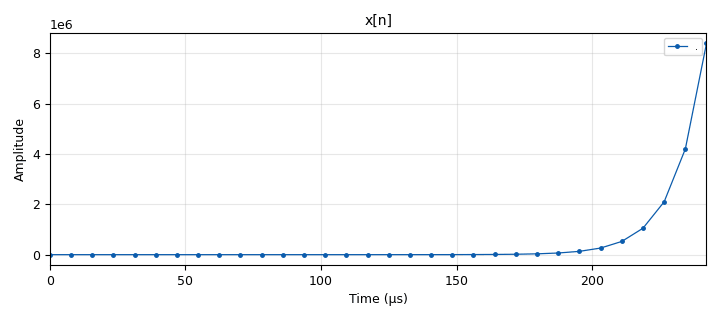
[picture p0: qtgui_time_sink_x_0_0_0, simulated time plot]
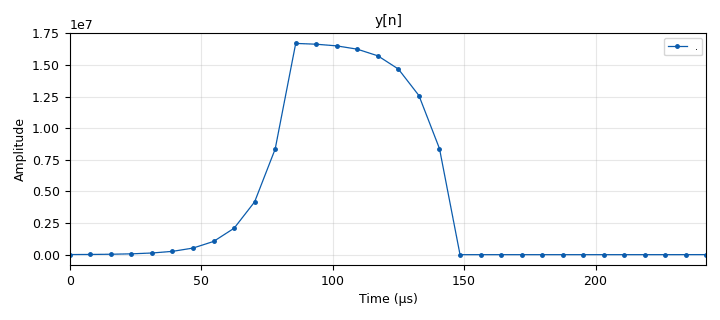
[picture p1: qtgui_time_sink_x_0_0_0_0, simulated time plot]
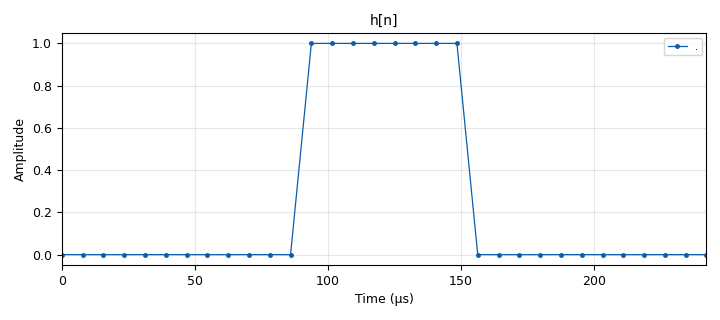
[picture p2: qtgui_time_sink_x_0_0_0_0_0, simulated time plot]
<?xml version='1.0' encoding='utf-8'?>
<?grc format='1' created='3.7.13'?>
<flow_graph>
<block>
<key>options</key>
<param><key>id</key><value>top_block</value></param>
<param><key>category</key><value>Custom</value></param>
<param><key>generate_options</key><value>qt_gui</value></param>
<param><key>run</key><value>run_stop</value></param>
</block>
<block>
<key>variable</key>
<param><key>id</key><value>N</value></param>
<param><key>value</key><value>32</value></param>
</block>
<block>
<key>variable</key>
<param><key>id</key><value>h</value></param>
<param><key>value</key><value>e_signal.pulse_rect(N,N-N/4)</value></param>
</block>
<block>
<key>variable_qtgui_range</key>
<param><key>id</key><value>retraso</value></param>
<param><key>value</key><value>0</value></param>
<param><key>gui_hint</key><value>0,1,1,1</value></param>
<param><key>label</key><value>retrasar senal</value></param>
<param><key>orient</key><value>Qt.Horizontal</value></param>
<param><key>start</key><value>0</value></param>
<param><key>step</key><value>1</value></param>
<param><key>stop</key><value>N</value></param>
<param><key>rangeType</key><value>int</value></param>
</block>
<block>
<key>variable_qtgui_check_box</key>
<param><key>id</key><value>run_stop</value></param>
<param><key>value</key><value>True</value></param>
<param><key>false</key><value>False</value></param>
<param><key>gui_hint</key><value>0,0,1,1</value></param>
<param><key>label</key><value>Inicial/Parar</value></param>
<param><key>true</key><value>True</value></param>
<param><key>type</key><value>int</value></param>
</block>
<block>
<key>variable</key>
<param><key>id</key><value>samp_rate</value></param>
<param><key>value</key><value>128000</value></param>
</block>
<block>
<key>variable</key>
<param><key>id</key><value>x</value></param>
<param><key>value</key><value>e_signal.pulse_exp(N, 8, 1, 2)</value></param>
</block>
<block>
<key>blocks_delay</key>
<param><key>id</key><value>blocks_delay_0</value></param>
<param><key>delay</key><value>retraso</value></param>
<param><key>type</key><value>float</value></param>
</block>
<block>
<key>blocks_vector_source_x</key>
<param><key>id</key><value>blocks_vector_source_x_0_0</value></param>
<param><key>type</key><value>float</value></param>
<param><key>repeat</key><value>True</value></param>
<param><key>vector</key><value>x</value></param>
</block>
<block>
<key>blocks_vector_source_x</key>
<param><key>id</key><value>blocks_vector_source_x_0_0_0</value></param>
<param><key>type</key><value>float</value></param>
<param><key>repeat</key><value>True</value></param>
<param><key>vector</key><value>h</value></param>
</block>
<block>
<key>epy_module</key>
<param><key>id</key><value>e_signal</value></param>
<param><key>source_code</key><value>import numpy as np
####################################################################################################
##                                  pulso rectangular                                             ##
####################################################################################################
# Lo siguiente aplica para todas las funciones aqui incluidas:
# cada funcion busca generar un tipo de forma de pulso rodeada de ceros
# los resultados se entregan en forma de un vector x
# Estos son los parametros usados:
# ntaps: es el tamano del vector y coincide con la duracion de la senal generada
# nzero: es el numero de ceros que rodean el pulso generado. Si nzero=0 no habran ceros.

def pulse_rect(ntaps,nzeros):
# Descripcion: esta funcion permite generar un pulso rectangular discreto
	n_val=ntaps-nzeros                        # el numero de valores no iguales a cero
	x=np.zeros(ntaps)                         # crea un vector de tamano ntaps lleno de ceros
	ntaps_m= int(ntaps/2)                     # el punto medio del vector
	ntaps_i= ntaps_m-int(n_val/2)             # el punto de inicio para los unos
	x[ntaps_i:ntaps_i+n_val:1]=np.ones(n_val) # llenado de los unos
	return x

def pulse_ramp(ntaps,nzeros):
# Descripcion: esta funcion permite generar un pulso en forma de rampa discreto
	n_val=ntaps-nzeros                        # el numero de valores no iguales a cero
	x=np.zeros(ntaps)                         # crea un vector de tamano ntaps lleno de ceros
	ntaps_m= int(ntaps/2)                     # el punto medio del vector
	ntaps_i= ntaps_m-int(n_val/2)             # el punto de inicio para los valores
	x[ntaps_i:ntaps_i+n_ones:1]=np.linspace(0,n_val-1,n_val) #llenado de los valores
	return x

def pulse_delta(ntaps):
# Descripcion: esta funcion permite generar la funcion impulso o funcion delta de Dirac discreta
	x=np.zeros(ntaps)                         # crea un vector de tamano ntaps lleno de ceros
	ntaps_m= int(ntaps/2)                     # el punto medio del vector
	x[ntaps_m]=1                              #llenado de los valores
	return x

def pulse_doublet(ntaps):
# Descripcion: esta funcion permite generar una funcion doblete unitario discreta
	x=np.zeros(ntaps)                         # crea un vector de tamano ntaps lleno de ceros
	ntaps_m= int(ntaps/2)                     # el punto medio del vector
	x[ntaps_m]=1                              # llenado de los valores
	x[ntaps_m+1]=-1                           # llenado de los valores
	return x

def pulse_step(ntaps, nzeros):
# Descripcion: esta funcion permite generar una funcion escalon de Heaviside
	n_val=ntaps-nzeros                        # numero de valores
	x=np.zeros(ntaps)                         # crea un vector de tamano ntaps lleno de ceros
	x[nzeros:ntaps:1]=np.ones(n_val) # llenado de los unos
	return x

def pulse_exp(ntaps,nzeros, C, a):
# Descripcion: Para generar una funcion exponencial de la forma Ca^n, donde n es tiempo discreto
	n_val=ntaps-nzeros                         # el numero de valores no iguales a cero
	x=np.zeros(ntaps)                          # crea un vector de tamano ntaps lleno de ceros
	ntaps_i = nzeros                    # el punto de inicio para los unos
	n=np.linspace(0,n_val-1,n_val)           # el vector de los valores de tiempo a usar
	x[ntaps_i:ntaps:1]=C*np.power(a,n) # llenado de los valores
	return x

</value></param>
</block>
<block>
<key>interp_fir_filter_xxx</key>
<param><key>id</key><value>interp_fir_filter_xxx_0</value></param>
<param><key>interp</key><value>1</value></param>
<param><key>taps</key><value>h</value></param>
<param><key>type</key><value>fff</value></param>
</block>
<block>
<key>qtgui_time_sink_x</key>
<param><key>id</key><value>qtgui_time_sink_x_0_0_0</value></param>
<param><key>autoscale</key><value>True</value></param>
<param><key>gui_hint</key><value>4,0,1,1</value></param>
<param><key>color1</key><value>"blue"</value></param>
<param><key>label1</key><value>.</value></param>
<param><key>marker1</key><value>0</value></param>
<param><key>width1</key><value>3</value></param>
<param><key>name</key><value>"x[n]"</value></param>
<param><key>size</key><value>N</value></param>
<param><key>srate</key><value>samp_rate</value></param>
<param><key>type</key><value>float</value></param>
</block>
<block>
<key>qtgui_time_sink_x</key>
<param><key>id</key><value>qtgui_time_sink_x_0_0_0_0</value></param>
<param><key>autoscale</key><value>True</value></param>
<param><key>gui_hint</key><value>6,0,1,1</value></param>
<param><key>color1</key><value>"blue"</value></param>
<param><key>label1</key><value>.</value></param>
<param><key>marker1</key><value>0</value></param>
<param><key>width1</key><value>3</value></param>
<param><key>name</key><value>"y[n]"</value></param>
<param><key>size</key><value>N</value></param>
<param><key>srate</key><value>samp_rate</value></param>
<param><key>type</key><value>float</value></param>
</block>
<block>
<key>qtgui_time_sink_x</key>
<param><key>id</key><value>qtgui_time_sink_x_0_0_0_0_0</value></param>
<param><key>autoscale</key><value>True</value></param>
<param><key>gui_hint</key><value>4,1,1,1</value></param>
<param><key>color1</key><value>"blue"</value></param>
<param><key>label1</key><value>.</value></param>
<param><key>marker1</key><value>0</value></param>
<param><key>width1</key><value>3</value></param>
<param><key>name</key><value>"h[n]"</value></param>
<param><key>size</key><value>N</value></param>
<param><key>srate</key><value>samp_rate</value></param>
<param><key>type</key><value>float</value></param>
</block>
<block>
<key>virtual_sink</key>
<param><key>id</key><value>virtual_sink_0</value></param>
<param><key>stream_id</key><value>T2</value></param>
</block>
<block>
<key>virtual_sink</key>
<param><key>id</key><value>virtual_sink_0_0</value></param>
<param><key>stream_id</key><value>T1</value></param>
</block>
<block>
<key>virtual_source</key>
<param><key>id</key><value>virtual_source_0</value></param>
<param><key>stream_id</key><value>T2</value></param>
</block>
<block>
<key>virtual_source</key>
<param><key>id</key><value>virtual_source_0_0</value></param>
<param><key>stream_id</key><value>T1</value></param>
</block>
<connection><source_block_id>blocks_delay_0</source_block_id><sink_block_id>qtgui_time_sink_x_0_0_0_0</sink_block_id><source_key>0</source_key><sink_key>0</sink_key></connection>
<connection><source_block_id>blocks_vector_source_x_0_0</source_block_id><sink_block_id>interp_fir_filter_xxx_0</sink_block_id><source_key>0</source_key><sink_key>0</sink_key></connection>
<connection><source_block_id>blocks_vector_source_x_0_0</source_block_id><sink_block_id>virtual_sink_0_0</sink_block_id><source_key>0</source_key><sink_key>0</sink_key></connection>
<connection><source_block_id>blocks_vector_source_x_0_0_0</source_block_id><sink_block_id>qtgui_time_sink_x_0_0_0_0_0</sink_block_id><source_key>0</source_key><sink_key>0</sink_key></connection>
<connection><source_block_id>interp_fir_filter_xxx_0</source_block_id><sink_block_id>virtual_sink_0</sink_block_id><source_key>0</source_key><sink_key>0</sink_key></connection>
<connection><source_block_id>virtual_source_0</source_block_id><sink_block_id>blocks_delay_0</sink_block_id><source_key>0</source_key><sink_key>0</sink_key></connection>
<connection><source_block_id>virtual_source_0_0</source_block_id><sink_block_id>qtgui_time_sink_x_0_0_0</sink_block_id><source_key>0</source_key><sink_key>0</sink_key></connection>
</flow_graph>
